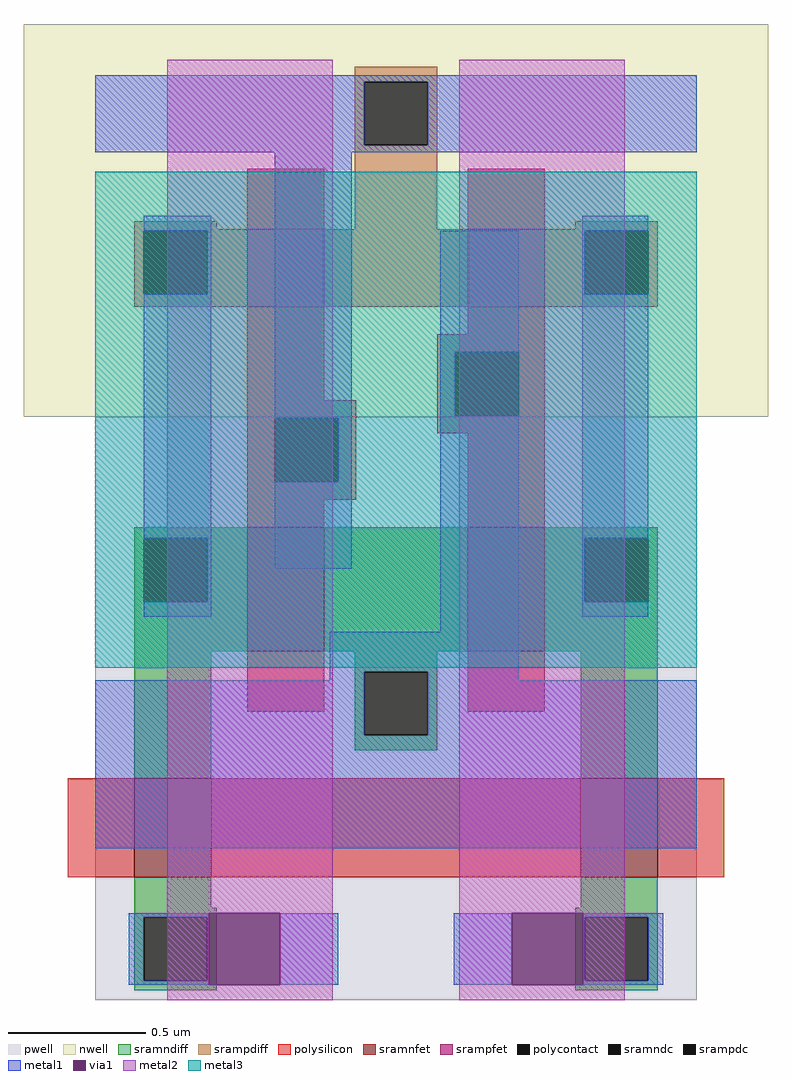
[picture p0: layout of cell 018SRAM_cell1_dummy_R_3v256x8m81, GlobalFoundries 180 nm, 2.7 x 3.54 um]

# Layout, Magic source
magic
tech gf180mcuD
magscale 1 10
<< nwell >>
rect 30 512 570 797
<< pwell >>
rect 82 89 518 512
<< sramnfet >>
rect 192 342 248 432
rect 352 342 408 432
rect 110 178 166 250
rect 434 178 490 250
<< srampfet >>
rect 192 592 248 648
rect 352 592 408 648
<< sramndiff >>
rect 110 424 192 432
rect 110 378 117 424
rect 163 378 192 424
rect 110 342 192 378
rect 248 342 352 432
rect 408 424 490 432
rect 408 378 437 424
rect 483 378 490 424
rect 408 342 490 378
rect 110 250 166 342
rect 270 327 330 342
rect 270 281 277 327
rect 323 281 330 327
rect 270 270 330 281
rect 434 250 490 342
rect 110 156 166 178
rect 434 156 490 178
rect 110 149 170 156
rect 110 103 117 149
rect 163 103 170 149
rect 110 96 170 103
rect 430 149 490 156
rect 430 103 437 149
rect 483 103 490 149
rect 430 96 490 103
<< srampdiff >>
rect 270 755 330 766
rect 270 709 277 755
rect 323 709 330 755
rect 110 648 170 654
rect 270 648 330 709
rect 430 648 490 654
rect 110 647 192 648
rect 110 601 117 647
rect 163 601 192 647
rect 110 592 192 601
rect 248 592 352 648
rect 408 647 490 648
rect 408 601 437 647
rect 483 601 490 647
rect 408 592 490 601
<< sramndc >>
rect 117 378 163 424
rect 437 378 483 424
rect 277 281 323 327
rect 117 103 163 149
rect 437 103 483 149
<< srampdc >>
rect 277 709 323 755
rect 117 601 163 647
rect 437 601 483 647
<< polysilicon >>
rect 192 648 248 692
rect 352 648 408 692
rect 192 524 248 592
rect 352 572 408 592
rect 330 559 408 572
rect 192 511 271 524
rect 192 465 212 511
rect 258 465 271 511
rect 330 513 343 559
rect 389 513 408 559
rect 330 500 408 513
rect 192 452 271 465
rect 192 432 248 452
rect 352 432 408 500
rect 192 298 248 342
rect 352 298 408 342
rect 62 178 110 250
rect 166 178 434 250
rect 490 178 538 250
<< polycontact >>
rect 212 465 258 511
rect 343 513 389 559
<< metal1 >>
rect 82 755 518 760
rect 82 709 277 755
rect 323 709 518 755
rect 82 704 518 709
rect 117 647 166 658
rect 163 601 166 647
rect 117 424 166 601
rect 163 378 166 424
rect 212 511 268 704
rect 435 647 483 658
rect 258 465 268 511
rect 212 402 268 465
rect 332 559 389 647
rect 332 513 343 559
rect 117 367 166 378
rect 332 356 389 513
rect 435 601 437 647
rect 435 424 483 601
rect 435 378 437 424
rect 435 367 483 378
rect 252 327 389 356
rect 252 321 277 327
rect 82 281 277 321
rect 323 321 389 327
rect 323 281 518 321
rect 82 199 518 281
rect 106 149 164 152
rect 106 103 117 149
rect 163 103 164 149
rect 106 100 164 103
rect 216 100 258 152
rect 342 100 384 152
rect 436 149 494 152
rect 436 103 437 149
rect 483 103 494 149
rect 436 100 494 103
<< via1 >>
rect 164 100 216 152
rect 384 100 436 152
<< metal2 >>
rect 134 152 254 771
rect 134 100 164 152
rect 216 100 254 152
rect 134 89 254 100
rect 346 152 466 771
rect 346 100 384 152
rect 436 100 466 152
rect 346 89 466 100
<< metal3 >>
rect 82 330 518 690
<< properties >>
string FIXED_BBOX 82 126 518 732
string MASKHINTS_NPLUS 64 64 536 478
string MASKHINTS_PPLUS 78 546 522 798
string MASKHINTS_SRAMDEF 24 89 576 797
<< end >>
